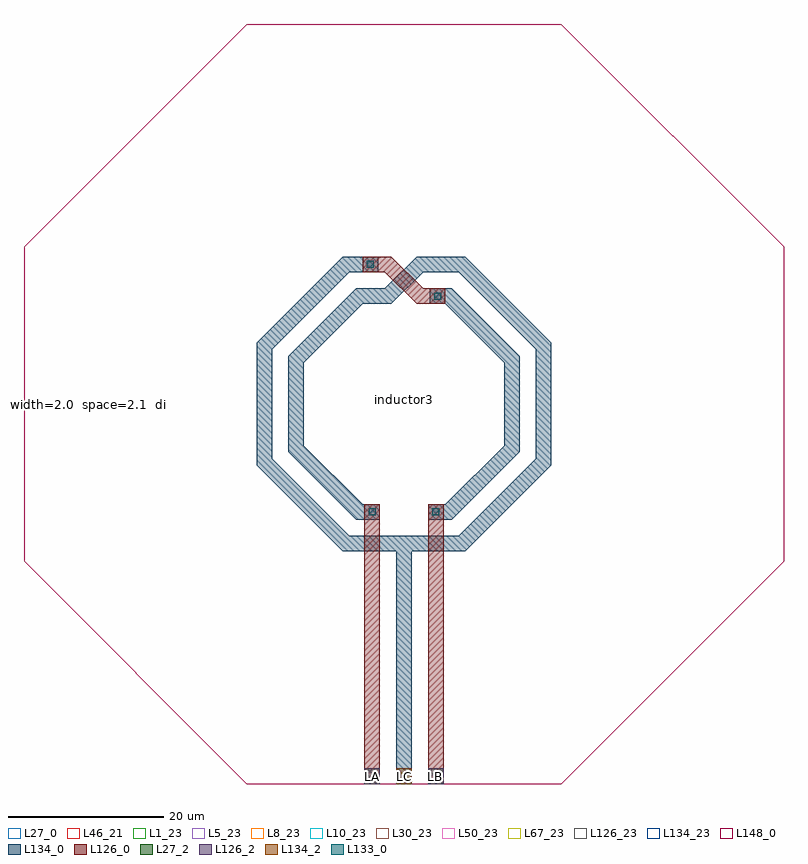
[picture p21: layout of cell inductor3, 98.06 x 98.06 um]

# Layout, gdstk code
import gdstk
lib = gdstk.Library(unit=1e-6, precision=1e-09)
def R(c, l, rs):  # rectangles x0, y0, x1, y1
    for r in rs: c.add(gdstk.rectangle(r[:2], r[2:], *l))
def P(c, l, *ps):  # polygons
    for p in ps: c.add(gdstk.Polygon(p, *l))
L1_23 = (1, 23)
L5_23 = (5, 23)
L8_23 = (8, 23)
L10_23 = (10, 23)
L27_0 = (27, 0)
L27_2 = (27, 2)
L30_23 = (30, 23)
L46_21 = (46, 21)
L50_23 = (50, 23)
L67_23 = (67, 23)
L126_0 = (126, 0)
L126_2 = (126, 2)
L126_23 = (126, 23)
L133_0 = (133, 0)
L134_0 = (134, 0)
L134_2 = (134, 2)
L134_23 = (134, 23)
L148_0 = (148, 0)

inductor3 = lib.new_cell('inductor3')
P(inductor3, L1_23, [(-20.305,0),(-49.03,28.725),(-49.03,69.335),(-20.305,98.06),(20.305,98.06),(49.03,69.335),(49.03,28.725),(20.305,0)],
  [(-20.305,0),(-49.03,28.725),(-49.03,69.335),(-20.305,98.06),(20.305,98.06),(49.03,69.335),(49.03,28.725),(20.305,0)])
P(inductor3, L5_23, [(-20.305,0),(-49.03,28.725),(-49.03,69.335),(-20.305,98.06),(20.305,98.06),(49.03,69.335),(49.03,28.725),(20.305,0)],
  [(-20.305,0),(-49.03,28.725),(-49.03,69.335),(-20.305,98.06),(20.305,98.06),(49.03,69.335),(49.03,28.725),(20.305,0)])
P(inductor3, L8_23, [(-20.305,0),(-49.03,28.725),(-49.03,69.335),(-20.305,98.06),(20.305,98.06),(49.03,69.335),(49.03,28.725),(20.305,0)],
  [(-20.305,0),(-49.03,28.725),(-49.03,69.335),(-20.305,98.06),(20.305,98.06),(49.03,69.335),(49.03,28.725),(20.305,0)])
P(inductor3, L10_23, [(-20.305,0),(-49.03,28.725),(-49.03,69.335),(-20.305,98.06),(20.305,98.06),(49.03,69.335),(49.03,28.725),(20.305,0)],
  [(-20.305,0),(-49.03,28.725),(-49.03,69.335),(-20.305,98.06),(20.305,98.06),(49.03,69.335),(49.03,28.725),(20.305,0)])
P(inductor3, L27_0, [(-20.305,0),(-49.03,28.725),(-49.03,69.335),(-20.305,98.06),(20.305,98.06),(49.03,69.335),(49.03,28.725),(20.305,0)],
  [(-20.305,0),(-49.03,28.725),(-49.03,69.335),(-20.305,98.06),(20.305,98.06),(49.03,69.335),(49.03,28.725),(20.305,0)])
R(inductor3, L27_2, [(-5.1,0,-3.1,2), (-5.1,0,-3.1,2), (-1,0,1,2), (-1,0,1,2), (3.1,0,5.1,2), (3.1,0,5.1,2)])
P(inductor3, L30_23, [(-20.305,0),(-49.03,28.725),(-49.03,69.335),(-20.305,98.06),(20.305,98.06),(49.03,69.335),(49.03,28.725),(20.305,0)],
  [(-20.305,0),(-49.03,28.725),(-49.03,69.335),(-20.305,98.06),(20.305,98.06),(49.03,69.335),(49.03,28.725),(20.305,0)])
P(inductor3, L46_21, [(-20.305,0),(-49.03,28.725),(-49.03,69.335),(-20.305,98.06),(20.305,98.06),(49.03,69.335),(49.03,28.725),(20.305,0)],
  [(-20.305,0),(-49.03,28.725),(-49.03,69.335),(-20.305,98.06),(20.305,98.06),(49.03,69.335),(49.03,28.725),(20.305,0)])
P(inductor3, L50_23, [(-20.305,0),(-49.03,28.725),(-49.03,69.335),(-20.305,98.06),(20.305,98.06),(49.03,69.335),(49.03,28.725),(20.305,0)],
  [(-20.305,0),(-49.03,28.725),(-49.03,69.335),(-20.305,98.06),(20.305,98.06),(49.03,69.335),(49.03,28.725),(20.305,0)])
P(inductor3, L67_23, [(-20.305,0),(-49.03,28.725),(-49.03,69.335),(-20.305,98.06),(20.305,98.06),(49.03,69.335),(49.03,28.725),(20.305,0)],
  [(-20.305,0),(-49.03,28.725),(-49.03,69.335),(-20.305,98.06),(20.305,98.06),(49.03,69.335),(49.03,28.725),(20.305,0)])
P(inductor3, L126_0, [(1.65,61.94),(-2.46,66.05),(-5.34,66.05),(-5.34,68.05),(-1.65,68.05),(2.46,63.94),(5.34,63.94),(5.34,61.94)],
  [(1.65,61.94),(-2.46,66.05),(-5.34,66.05),(-5.34,68.05),(-1.65,68.05),(2.46,63.94),(5.34,63.94),(5.34,61.94)])
R(inductor3, L126_2, [(-5.1,0,-3.1,2), (-5.1,0,-3.1,2), (3.1,0,5.1,2), (3.1,0,5.1,2)])
P(inductor3, L126_23, [(-20.305,0),(-49.03,28.725),(-49.03,69.335),(-20.305,98.06),(20.305,98.06),(49.03,69.335),(49.03,28.725),(20.305,0)],
  [(-20.305,0),(-49.03,28.725),(-49.03,69.335),(-20.305,98.06),(20.305,98.06),(49.03,69.335),(49.03,28.725),(20.305,0)])
R(inductor3, L133_0, [(-4.55,34.65,-3.65,35.55), (-4.55,34.65,-3.65,35.55), (3.65,34.65,4.55,35.55), (3.65,34.65,4.55,35.55), (3.89,62.49,4.79,63.39), (3.89,62.49,4.79,63.39), (-4.79,66.59,-3.89,67.49), (-4.79,66.59,-3.89,67.49)])
R(inductor3, L134_0, [(-3.34,30,3.34,32), (-3.34,30,3.34,32)])
P(inductor3, L134_0, [(-7.88,30),(-19.025,41.145),(-19.025,56.905),(-7.88,68.05),(-3.34,68.05),(-3.34,66.05),(-7.05,66.05),(-17.025,56.075),(-17.025,41.975),(-7.05,32),(-3.34,32),(-3.34,30)],
  [(3.34,30),(3.34,32),(7.05,32),(17.025,41.975),(17.025,56.075),(7.05,66.05),(3.34,66.05),(3.34,68.05),(7.88,68.05),(19.025,56.905),(19.025,41.145),(7.88,30)],
  [(-3.34,61.94),(-3.34,63.94),(-2.47,63.94),(1.63,68.05),(3.34,68.05),(3.34,66.05),(2.47,66.05),(-1.63,61.94)],
  [(-6.18,34.1),(-14.92,42.84),(-14.92,55.2),(-6.18,63.94),(-3.34,63.94),(-3.34,61.94),(-5.35,61.94),(-12.92,54.37),(-12.92,43.67),(-5.35,36.1),(-3.1,36.1),(-3.1,34.1)],
  [(3.1,34.1),(3.1,36.1),(5.35,36.1),(12.92,43.67),(12.92,54.37),(5.35,61.94),(3.34,61.94),(3.34,63.94),(6.18,63.94),(14.92,55.2),(14.92,42.84),(6.18,34.1)],
  [(-7.88,30),(-19.025,41.145),(-19.025,56.905),(-7.88,68.05),(-3.34,68.05),(-3.34,66.05),(-7.05,66.05),(-17.025,56.075),(-17.025,41.975),(-7.05,32),(-3.34,32),(-3.34,30)],
  [(3.34,30),(3.34,32),(7.05,32),(17.025,41.975),(17.025,56.075),(7.05,66.05),(3.34,66.05),(3.34,68.05),(7.88,68.05),(19.025,56.905),(19.025,41.145),(7.88,30)],
  [(-3.34,61.94),(-3.34,63.94),(-2.47,63.94),(1.63,68.05),(3.34,68.05),(3.34,66.05),(2.47,66.05),(-1.63,61.94)],
  [(-6.18,34.1),(-14.92,42.84),(-14.92,55.2),(-6.18,63.94),(-3.34,63.94),(-3.34,61.94),(-5.35,61.94),(-12.92,54.37),(-12.92,43.67),(-5.35,36.1),(-3.1,36.1),(-3.1,34.1)],
  [(3.1,34.1),(3.1,36.1),(5.35,36.1),(12.92,43.67),(12.92,54.37),(5.35,61.94),(3.34,61.94),(3.34,63.94),(6.18,63.94),(14.92,55.2),(14.92,42.84),(6.18,34.1)])
R(inductor3, L134_2, [(-1,0,1,2), (-1,0,1,2)])
P(inductor3, L134_23, [(-20.305,0),(-49.03,28.725),(-49.03,69.335),(-20.305,98.06),(20.305,98.06),(49.03,69.335),(49.03,28.725),(20.305,0)],
  [(-20.305,0),(-49.03,28.725),(-49.03,69.335),(-20.305,98.06),(20.305,98.06),(49.03,69.335),(49.03,28.725),(20.305,0)])
P(inductor3, L148_0, [(-20.305,0),(-49.03,28.725),(-49.03,69.335),(-20.305,98.06),(20.305,98.06),(49.03,69.335),(49.03,28.725),(20.305,0)],
  [(-20.305,0),(-49.03,28.725),(-49.03,69.335),(-20.305,98.06),(20.305,98.06),(49.03,69.335),(49.03,28.725),(20.305,0)])
inductor3.add(gdstk.FlexPath([(-4.1,0),(-4.1,36.1)], 2, ends="flush", simple_path=True, layer=126, datatype=0))  # L126_0
inductor3.add(gdstk.FlexPath([(4.1,0),(4.1,36.1)], 2, ends="flush", simple_path=True, layer=126, datatype=0))  # L126_0
inductor3.add(gdstk.FlexPath([(-4.1,0),(-4.1,36.1)], 2, ends="flush", simple_path=True, layer=126, datatype=0))  # L126_0
inductor3.add(gdstk.FlexPath([(4.1,0),(4.1,36.1)], 2, ends="flush", simple_path=True, layer=126, datatype=0))  # L126_0
inductor3.add(gdstk.FlexPath([(0,0),(0,30)], 2, ends="flush", simple_path=True, layer=134, datatype=0))  # L134_0
inductor3.add(gdstk.FlexPath([(0,0),(0,30)], 2, ends="flush", simple_path=True, layer=134, datatype=0))  # L134_0
inductor3.add(gdstk.Label('  width=2.0\n  space=2.1\n  diameter=25.35\n  turns=2', (-47.03,49.03), layer=63, texttype=0))
inductor3.add(gdstk.Label('inductor3', (0,49.59), layer=63, texttype=0))
inductor3.add(gdstk.Label('  width=2.0\n  space=2.1\n  diameter=25.35\n  turns=2', (-47.03,49.03), layer=63, texttype=0))
inductor3.add(gdstk.Label('inductor3', (0,49.59), layer=63, texttype=0))
inductor3.add(gdstk.Label('LA', (-4.1,1), layer=27, texttype=25))
inductor3.add(gdstk.Label('LB', (4.1,1), layer=27, texttype=25))
inductor3.add(gdstk.Label('LC', (0,1), layer=27, texttype=25))
inductor3.add(gdstk.Label('LA', (-4.1,1), layer=27, texttype=25))
inductor3.add(gdstk.Label('LB', (4.1,1), layer=27, texttype=25))
inductor3.add(gdstk.Label('LC', (0,1), layer=27, texttype=25))

lib.write_gds('inductor3.gds')
